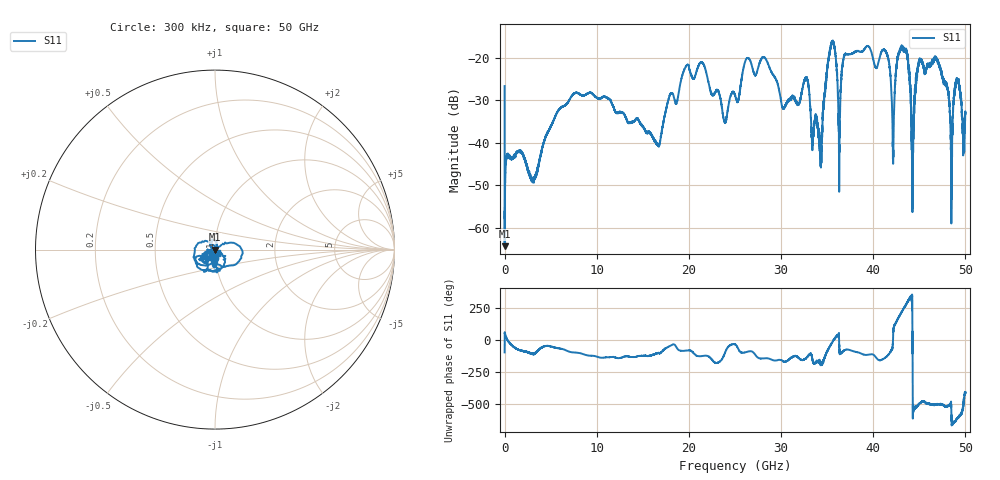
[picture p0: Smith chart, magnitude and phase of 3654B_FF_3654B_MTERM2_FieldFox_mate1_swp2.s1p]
!Created with skrf (http://scikit-rf.org).
# Hz S RI R 50.0
!freq ReS11 ImS11
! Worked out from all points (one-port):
!   10001 points, 300 kHz to 50 GHz, reference 50 ohm
!   lowest |S11| = -64.4 dB at 5.3 MHz (marker M1), VSWR 1.00, Z = 50 - j0.0592 ohm
!   |S11| at or under -10 dB: start of sweep to end of sweep
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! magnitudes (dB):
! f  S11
! 300 kHz  -26.6
! 5.3 MHz  -64.4
! 255.3 MHz  -43.1
! 3.08 GHz  -48.9
! 6.25 GHz  -31.5
! 12.5 GHz  -32.8
! 16.64 GHz  -40.4
! 18.75 GHz  -29.9
! 21.34 GHz  -21.0
! 23.88 GHz  -35.0
! 25 GHz  -28.9
! 28.11 GHz  -19.8
! 31.25 GHz  -29.3
! 32.76 GHz  -24.9
! 34.24 GHz  -42.0
! 35.44 GHz  -17.1
! 36.32 GHz  -45.1
! 37.5 GHz  -19.2
! 41.31 GHz  -18.4
! 42.16 GHz  -44.0
! 42.83 GHz  -18.7
! 43.75 GHz  -20.5
! 44.26 GHz  -41.9
! 45.02 GHz  -20.4
! 46.76 GHz  -19.8
! 48.43 GHz  -41.0
! 49.11 GHz  -25.0
! 50 GHz  -32.9
